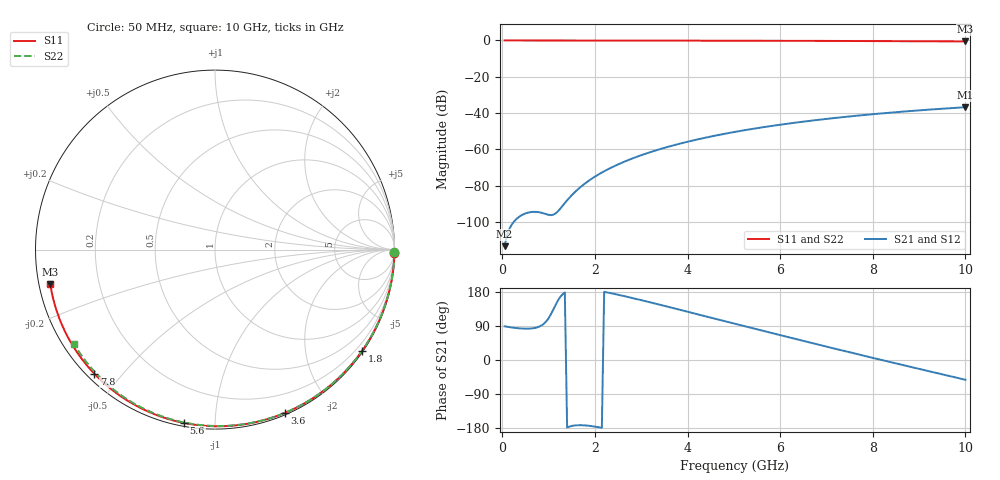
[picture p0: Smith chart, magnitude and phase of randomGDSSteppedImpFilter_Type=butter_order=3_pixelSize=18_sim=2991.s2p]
! freq	dB(S11)	phase(S11)	dB(S12)	phase(S12)
!  dB(S21)	phase(S21)	dB(S22)	phase(S22)
!S-par simulation data
#  GHz  S  DB  R 50
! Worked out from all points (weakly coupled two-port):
!   200 points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, 50 MHz to 10 GHz, reference 50 ohm
!   highest |S21| = -36.82 dB at 10 GHz (marker M1); lowest = -113.4 dB at 50 MHz (marker M2)
!   lowest |S11| = -0.6 dB at 10 GHz (marker M3), VSWR 31.12, Z = 1.62 - j5.19 ohm
!   |S11| at or under -10 dB: nowhere
!   |S22| runs from -0.5 to 0.0 dB; largest |S21 - S12| = 0
!   S11 on the Smith chart (normalised r, x): 50 MHz: open; 1.8 GHz: 0.03, -3.23; 3.6 GHz: 0.02, -1.51; 5.6 GHz: 0.02, -0.84; 7.8 GHz: 0.02, -0.42; 10 GHz: 0.03, -0.10
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0.05  -0.00 -1.0  -113.42 88.9  -113.42 88.9  -0.00 -0.9
0.45  -0.01 -8.8  -95.92 82.9  -95.92 82.9  -0.01 -7.6
0.85  -0.02 -16.5  -95.01 91.5  -95.01 91.5  -0.02 -14.4
1.25  -0.03 -24.1  -92.79 166.1  -92.79 166.1  -0.03 -21.0
1.7  -0.04 -32.6  -80.59 -172.0  -80.59 -172.0  -0.04 -28.4
1.75  -0.04 -33.5  -79.56 -172.3  -79.56 -172.3  -0.04 -29.2
1.8  -0.04 -34.4  -78.58 -172.7  -78.58 -172.7  -0.04 -30.1
2.1  -0.05 -40.0  -73.56 -177.8  -73.56 -177.8  -0.04 -34.9
2.3  -0.06 -43.7  -70.79 177.5  -70.79 177.5  -0.05 -38.2
2.5  -0.06 -47.3  -68.34 172.2  -68.34 172.2  -0.05 -41.4
2.9  -0.07 -54.6  -64.19 160.9  -64.19 160.9  -0.06 -47.7
3.4  -0.08 -63.4  -59.96 145.9  -59.96 145.9  -0.07 -55.5
3.6  -0.09 -66.9  -58.49 139.8  -58.49 139.8  -0.08 -58.6
4.3  -0.11 -78.9  -54.08 118.1  -54.08 118.1  -0.10 -69.2
5.05  -0.14 -91.3  -50.29 94.8  -50.29 94.8  -0.12 -80.2
5.6  -0.17 -100.1  -47.96 77.9  -47.96 77.9  -0.15 -88.0
6.15  -0.20 -108.8  -45.93 61.0  -45.93 61.0  -0.17 -95.6
6.7  -0.23 -117.4  -44.13 44.3  -44.13 44.3  -0.20 -103.1
7.8  -0.31 -134.2  -41.13 11.5  -41.13 11.5  -0.27 -117.7
8.35  -0.37 -142.5  -39.87 -4.6  -39.87 -4.6  -0.32 -124.8
9.2  -0.46 -155.6  -38.17 -29.2  -38.17 -29.2  -0.40 -135.7
10  -0.56 -168.1  -36.82 -52.2  -36.82 -52.2  -0.49 -146.0
